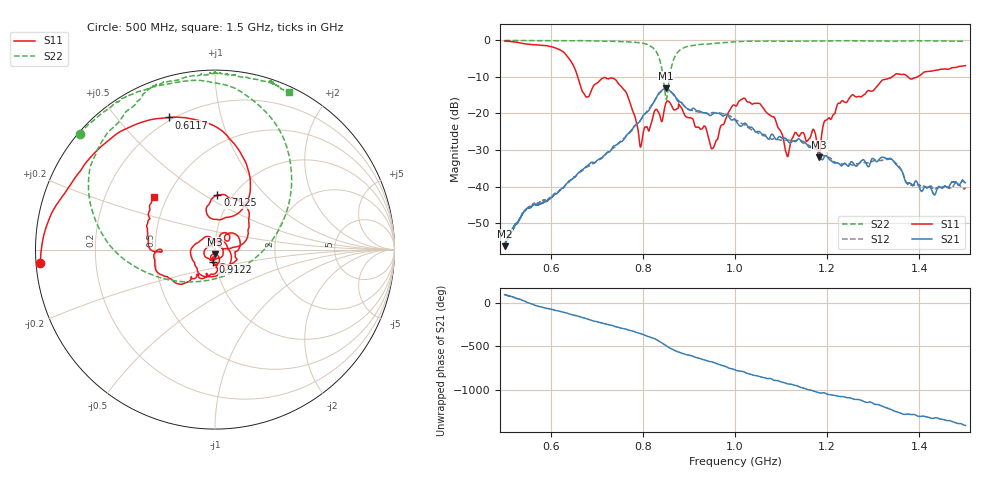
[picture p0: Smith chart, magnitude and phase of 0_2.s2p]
!Agilent Technologies,E8364B,US42250235,A.06.04.32
!Agilent E8364B: A.06.04.32
!Date: Thursday, October 01, 2020 14:01:17
!Correction: S11(Full 2 Port(1,2)) S21(Full 2 Port(1,2)) S12(Full 2 Port(1,2)) S22(Full 2 Port(1,2))
!S2P File: Measurements: S11, S21, S12, S22:
# Hz S  dB  R 50
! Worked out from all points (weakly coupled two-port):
!   2650 points, 500 MHz to 1.5 GHz, reference 50 ohm
!   highest |S21| = -13.17 dB at 850.3 MHz (marker M1); lowest = -56.3 dB at 500 MHz (marker M2)
!   lowest |S11| = -32.0 dB at 1.183 GHz (marker M3), VSWR 1.05, Z = 49.9 - j2.5 ohm
!   |S11| at or under -10 dB: 658.6 MHz to 1.341 GHz (682.2 MHz wide, 68.2 % of centre); 1.376 GHz to 1.396 GHz (20.71 MHz wide, 1.49 % of centre)
!   |S22| runs from -16.2 to 0.0 dB; largest |S21 - S12| = 0.0098
!   S11 on the Smith chart (normalised r, x): 500 MHz: 0.01, -0.04; 611.7 MHz: 0.18, +0.69; 712.5 MHz: 0.85, +0.57; 912.2 MHz: 0.97, -0.13; 1.5 GHz: 0.42, +0.31
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5e8  -0.22 -175.6  -56.28 91.0  -55.83 92.9  -0.06 139.4
6.117403e8  -2.16 109.3  -42.04 -90.9  -41.71 -88.8  -0.13 125.5
6.434504e8  -5.63 71.5  -38.24 -134.2  -38.28 -128.6  -0.14 123.2
6.668554e8  -13.45 61.6  -35.62 -167.9  -35.82 -165.5  -0.10 121.6
7.12533e8  -10.36 87.5  -31.99 126.1  -32.08 129.4  -0.18 116.1
7.627407e8  -14.06 22.7  -26.33 58.4  -26.34 57.3  -0.40 101.3
7.952057e8  -29.19 37.2  -21.80 6.3  -21.81 5.6  -0.72 86.7
8.337108e8  -19.66 38.3  -14.67 -74.8  -14.94 -75.6  -4.30 45.8
8.503209e8  -17.06 39.2  -13.17 -130.2  -13.21 -129.3  -16.03 -58.2
8.725934e8  -18.89 -10.7  -15.93 163.9  -15.80 166.2  -3.81 171.1
9.12231e8  -23.10 -100.3  -18.74 100.1  -19.37 101.3  -1.35 140.3
9.518686e8  -29.43 130.9  -20.10 41.6  -19.75 41.5  -0.87 124.3
1.000189e9  -17.87 -72.5  -21.80 -47.6  -21.64 -46.5  -0.40 114.6
1.055304e9  -17.50 178.9  -25.20 -127.1  -25.75 -124.3  -0.23 110.8
1.113062e9  -31.58 35.1  -27.23 155.1  -27.24 165.1  -0.27 103.7
1.166667e9  -25.20 -92.2  -29.22 79.5  -29.13 80.3  -0.21 94.8
1.182522e9  -32.03 -90.0  -31.03 51.4  -30.37 55.0  -0.22 93.6
1.194602e9  -22.08 -78.1  -31.69 49.8  -31.77 41.8  -0.14 91.5
1.226312e9  -17.25 -98.2  -33.80 11.4  -33.70 9.5  -0.15 90.3
1.333522e9  -10.38 -148.5  -32.34 -127.8  -32.55 -132.9  -0.23 80.4
1.40487e9  -9.26 -178.5  -41.36 145.0  -39.93 137.5  -0.17 71.0
1.5e9  -6.95 139.3  -38.93 39.9  -40.33 30.6  -0.28 64.9
